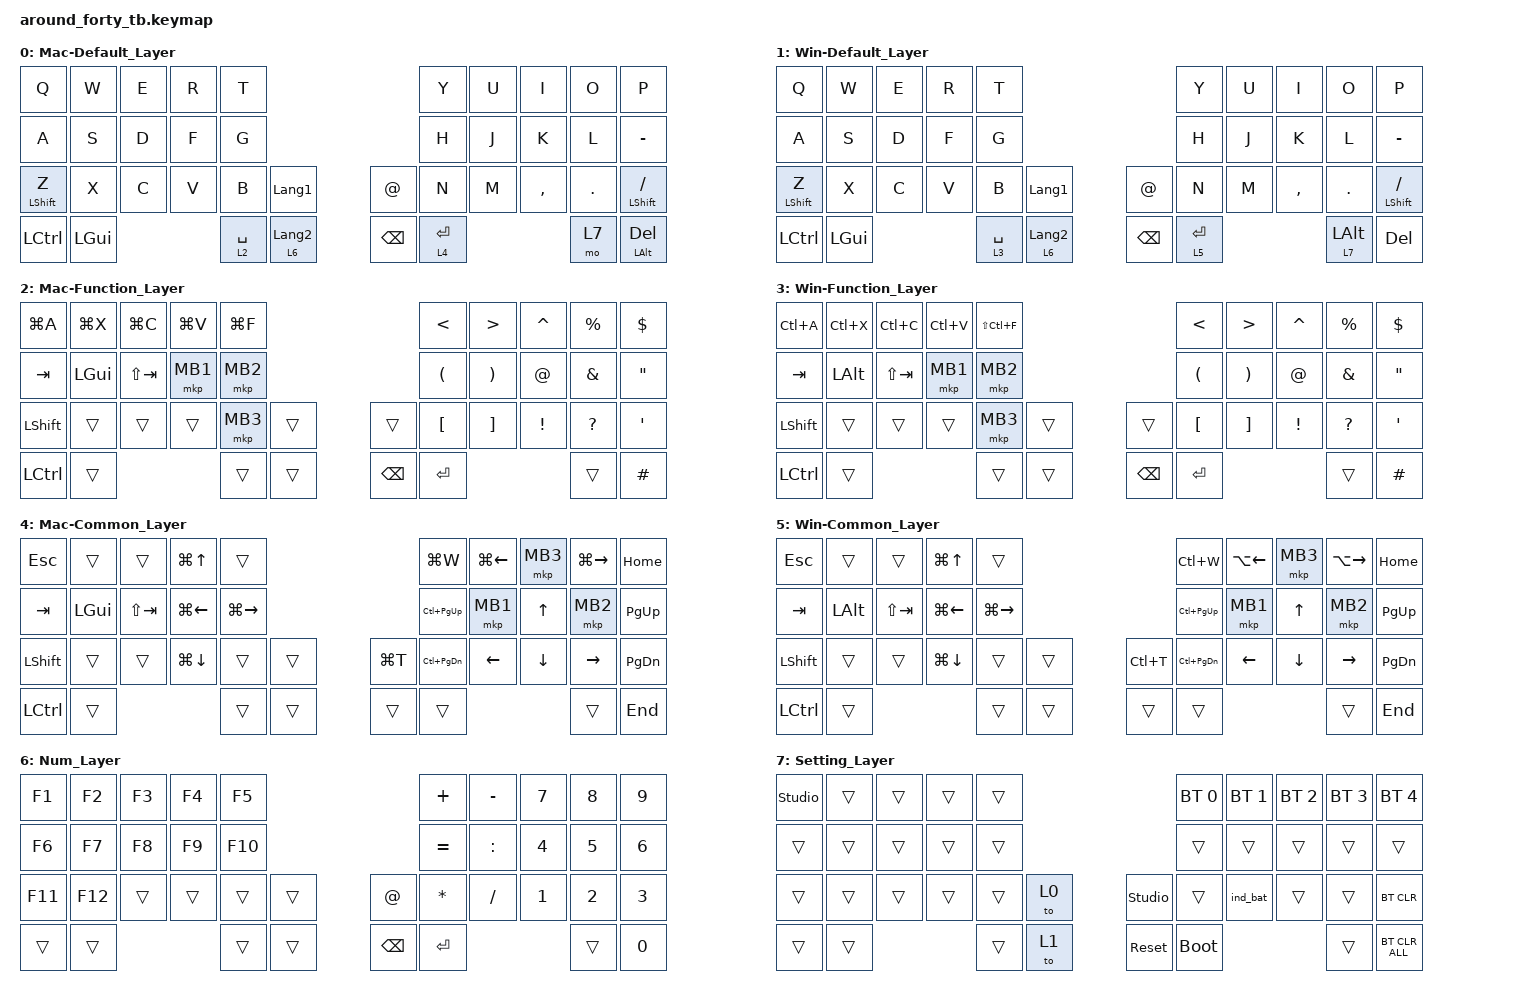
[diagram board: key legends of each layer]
#define ZMK_POINTING_DEFAULT_SCRL_VAL 100
#define MOUSE 6

#include <behaviors/rgbled_widget.dtsi>  // needed to use the behaviors
#include <behaviors.dtsi>
#include <dt-bindings/zmk/bt.h>
#include <dt-bindings/zmk/keys.h>
#include <dt-bindings/zmk/pointing.h>

&mt {
    flavor = "balanced";
    quick-tap-ms = <0>;
};

/ {
    combos {
        compatible = "zmk,combos";

        Combo-ALT {
            bindings = <&kp LEFT_ALT>;
            key-positions = <30 31>;
        };
    };

    macros {
        to_layer_0: to_layer_0 {
            compatible = "zmk,behavior-macro-one-param";
            #binding-cells = <1>;
            bindings = <&to 0 &macro_param_1to1 &kp MACRO_PLACEHOLDER>;
            label = "TO_LAYER_0";
        };
    };

    behaviors {
        lt_to_layer_0: lt_to_layer_0 {
            compatible = "zmk,behavior-hold-tap";
            label = "LAYER_TAP_TO_0";
            bindings = <&mo>, <&to_layer_0>;

            #binding-cells = <2>;
            tapping-term-ms = <200>;
        };

        scroll_up_down: behavior_sensor_rotate_mouse_wheel_up_down {
            compatible = "zmk,behavior-sensor-rotate";
            #sensor-binding-cells = <0>;
            bindings = <&msc SCRL_UP>, <&msc SCRL_DOWN>;

            tap-ms = <20>;
        };
    };

    keymap {
        compatible = "zmk,keymap";

        Mac-Default_Layer {
            bindings = <
&kp Q             &kp W         &kp E           &kp R             &kp T        &kp Y  &kp U          &kp I        &kp O        &kp P
&kp A             &kp S         &kp D           &kp F             &kp G        &kp H  &kp J          &kp K        &kp L        &kp MINUS
&mt LEFT_SHIFT Z  &kp X         &kp C           &kp V             &kp B        &kp N  &kp M          &kp COMMA    &kp PERIOD   &mt LEFT_SHIFT SLASH
&kp LCTRL         &kp LEFT_GUI  &kp LANGUAGE_1  &lt 6 LANGUAGE_2  &lt 2 SPACE  &mo 7  &kp BACKSPACE  &kp AT_SIGN  &lt 4 ENTER  &mt LEFT_ALT DELETE
            >;
        };

        Win-Default_Layer {
            bindings = <
&kp Q             &kp W         &kp E           &kp R             &kp T        &kp Y           &kp U          &kp I        &kp O        &kp P
&kp A             &kp S         &kp D           &kp F             &kp G        &kp H           &kp J          &kp K        &kp L        &kp MINUS
&mt LEFT_SHIFT Z  &kp X         &kp C           &kp V             &kp B        &kp N           &kp M          &kp COMMA    &kp PERIOD   &mt LEFT_SHIFT SLASH
&kp LCTRL         &kp LEFT_GUI  &kp LANGUAGE_1  &lt 6 LANGUAGE_2  &lt 3 SPACE  &lt 7 LEFT_ALT  &kp BACKSPACE  &kp AT_SIGN  &lt 5 ENTER  &kp DELETE
            >;
        };

        Mac-Function_Layer {
            bindings = <
&kp LG(A)       &kp LG(X)     &kp LG(C)    &kp LG(V)  &kp LG(F)  &kp LESS_THAN         &kp GREATER_THAN       &kp CARET        &kp PERCENT    &kp DOLLAR
&kp TAB         &kp LEFT_GUI  &kp LS(TAB)  &mkp MB1   &mkp MB2   &kp LEFT_PARENTHESIS  &kp RIGHT_PARENTHESIS  &kp AT_SIGN      &kp AMPERSAND  &kp DOUBLE_QUOTES
&kp LEFT_SHIFT  &trans        &trans       &trans     &mkp MB3   &kp LEFT_BRACKET      &kp RIGHT_BRACKET      &kp EXCLAMATION  &kp QUESTION   &kp SQT
&kp LCTRL       &trans        &trans       &trans     &trans     &trans                &kp BACKSPACE          &trans           &kp ENTER      &kp HASH
            >;
        };

        Win-Function_Layer {
            bindings = <
&kp LC(A)       &kp LC(X)     &kp LC(C)    &kp LC(V)  &kp LS(LC(F))  &kp LESS_THAN         &kp GREATER_THAN       &kp CARET        &kp PERCENT    &kp DOLLAR
&kp TAB         &kp LEFT_ALT  &kp LS(TAB)  &mkp MB1   &mkp MB2       &kp LEFT_PARENTHESIS  &kp RIGHT_PARENTHESIS  &kp AT_SIGN      &kp AMPERSAND  &kp DOUBLE_QUOTES
&kp LEFT_SHIFT  &trans        &trans       &trans     &mkp MB3       &kp LEFT_BRACKET      &kp RIGHT_BRACKET      &kp EXCLAMATION  &kp QUESTION   &kp SQT
&kp LCTRL       &trans        &trans       &trans     &trans         &trans                &kp BACKSPACE          &trans           &kp ENTER      &kp HASH
            >;
        };

        Mac-Common_Layer {
            bindings = <
&kp ESCAPE      &trans        &trans       &kp LG(UP_ARROW)    &trans               &kp LG(W)          &kp LG(LEFT_ARROW)  &mkp MB3        &kp LG(RIGHT_ARROW)  &kp HOME
&kp TAB         &kp LEFT_GUI  &kp LS(TAB)  &kp LG(LEFT_ARROW)  &kp LG(RIGHT_ARROW)  &kp LC(PAGE_UP)    &mkp MB1            &kp UP_ARROW    &mkp MB2             &kp PAGE_UP
&kp LEFT_SHIFT  &trans        &trans       &kp LG(DOWN_ARROW)  &trans               &kp LC(PAGE_DOWN)  &kp LEFT_ARROW      &kp DOWN_ARROW  &kp RIGHT_ARROW      &kp PAGE_DOWN
&kp LCTRL       &trans        &trans       &trans              &trans               &trans             &trans              &kp LG(T)       &trans               &kp END
            >;
        };

        Win-Common_Layer {
            bindings = <
&kp ESCAPE      &trans        &trans       &kp LG(UP_ARROW)    &trans               &kp LC(W)          &kp LA(LEFT_ARROW)  &mkp MB3        &kp LA(RIGHT_ARROW)  &kp HOME
&kp TAB         &kp LEFT_ALT  &kp LS(TAB)  &kp LG(LEFT_ARROW)  &kp LG(RIGHT_ARROW)  &kp LC(PAGE_UP)    &mkp MB1            &kp UP_ARROW    &mkp MB2             &kp PAGE_UP
&kp LEFT_SHIFT  &trans        &trans       &kp LG(DOWN_ARROW)  &trans               &kp LC(PAGE_DOWN)  &kp LEFT_ARROW      &kp DOWN_ARROW  &kp RIGHT_ARROW      &kp PAGE_DOWN
&kp LCTRL       &trans        &trans       &trans              &trans               &trans             &trans              &kp LC(T)       &trans               &kp END
            >;
        };

        Num_Layer {
            bindings = <
&kp F1   &kp F2   &kp F3  &kp F4  &kp F5   &kp PLUS      &kp MINUS      &kp NUMBER_7  &kp NUMBER_8  &kp NUMBER_9
&kp F6   &kp F7   &kp F8  &kp F9  &kp F10  &kp EQUAL     &kp COLON      &kp N4        &kp N5        &kp N6
&kp F11  &kp F12  &trans  &trans  &trans   &kp ASTERISK  &kp SLASH      &kp NUMBER_1  &kp NUMBER_2  &kp NUMBER_3
&trans   &trans   &trans  &trans  &trans   &trans        &kp BACKSPACE  &kp AT_SIGN   &kp ENTER     &kp N0
            >;
        };

        Setting_Layer {
            bindings = <
&studio_unlock  &trans  &trans  &trans  &trans  &bt BT_SEL 0  &bt BT_SEL 1  &bt BT_SEL 2    &bt BT_SEL 3  &bt BT_SEL 4
&trans          &trans  &trans  &trans  &trans  &trans        &trans        &trans          &trans        &trans
&trans          &trans  &trans  &trans  &trans  &trans        &ind_bat      &trans          &trans        &bt BT_CLR
&trans          &trans  &to 0   &to 1   &trans  &trans        &sys_reset    &studio_unlock  &bootloader   &bt BT_CLR_ALL
            >;
        };
    };
};
